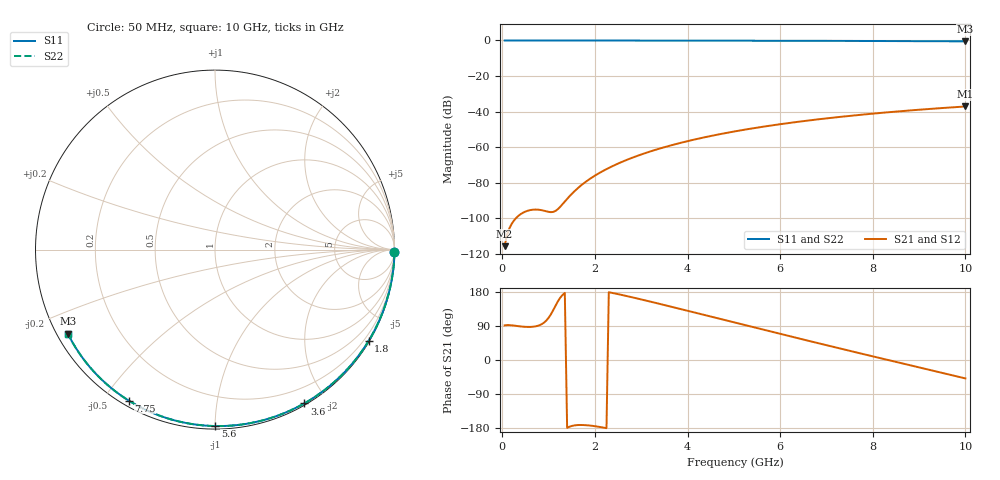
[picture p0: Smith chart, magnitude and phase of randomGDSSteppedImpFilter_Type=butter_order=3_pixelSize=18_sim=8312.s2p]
! freq	dB(S11)	phase(S11)	dB(S12)	phase(S12)
!  dB(S21)	phase(S21)	dB(S22)	phase(S22)
!S-par simulation data
#  GHz  S  DB  R 50
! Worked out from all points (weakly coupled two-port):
!   200 points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, 50 MHz to 10 GHz, reference 50 ohm
!   highest |S21| = -37.10 dB at 10 GHz (marker M1); lowest = -115.6 dB at 50 MHz (marker M2)
!   lowest |S11| = -0.5 dB at 10 GHz (marker M3), VSWR 34.96, Z = 1.53 - j13.3 ohm
!   |S11| at or under -10 dB: nowhere
!   |S22| runs from -0.5 to 0.0 dB; largest |S21 - S12| = 0
!   S11 on the Smith chart (normalised r, x): 50 MHz: open; 1.8 GHz: 0.03, -3.64; 3.6 GHz: 0.02, -1.74; 5.6 GHz: 0.02, -1.00; 7.75 GHz: 0.02, -0.58; 10 GHz: 0.03, -0.27
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0.05  -0.00 -0.9  -115.58 91.4  -115.58 91.4  -0.00 -0.9
0.45  -0.01 -7.8  -96.75 87.8  -96.75 87.8  -0.01 -7.8
0.9  -0.02 -15.5  -95.65 98.5  -95.65 98.5  -0.02 -15.5
1.3  -0.03 -22.3  -92.00 171.5  -92.00 171.5  -0.03 -22.3
1.75  -0.04 -29.9  -80.43 -171.6  -80.43 -171.6  -0.04 -29.9
1.8  -0.04 -30.7  -79.45 -171.9  -79.45 -171.9  -0.04 -30.7
1.95  -0.04 -33.2  -76.77 -173.8  -76.77 -173.8  -0.04 -33.2
2.1  -0.05 -35.7  -74.41 -176.6  -74.41 -176.6  -0.05 -35.7
2.3  -0.05 -39.0  -71.62 178.9  -71.62 178.9  -0.05 -39.0
2.5  -0.05 -42.3  -69.17 173.8  -69.17 173.8  -0.05 -42.3
2.9  -0.06 -48.8  -64.98 162.8  -64.98 162.8  -0.06 -48.8
3.4  -0.07 -56.8  -60.72 148.1  -60.72 148.1  -0.07 -56.7
3.6  -0.08 -59.9  -59.24 142.1  -59.24 142.1  -0.08 -59.9
4.3  -0.10 -70.7  -54.79 120.8  -54.79 120.8  -0.10 -70.7
5.05  -0.13 -81.9  -50.95 97.9  -50.95 97.9  -0.13 -81.9
5.6  -0.15 -89.9  -48.59 81.1  -48.59 81.1  -0.15 -89.9
6.15  -0.17 -97.7  -46.52 64.5  -46.52 64.5  -0.17 -97.7
6.7  -0.20 -105.4  -44.69 48.0  -44.69 48.0  -0.20 -105.4
7.75  -0.28 -119.8  -41.74 16.9  -41.74 16.9  -0.28 -119.8
8.35  -0.32 -127.8  -40.30 -0.6  -40.30 -0.6  -0.32 -127.8
9.2  -0.41 -139.3  -38.53 -25.3  -38.53 -25.3  -0.41 -139.3
10  -0.50 -150.2  -37.10 -48.6  -37.10 -48.6  -0.50 -150.2
